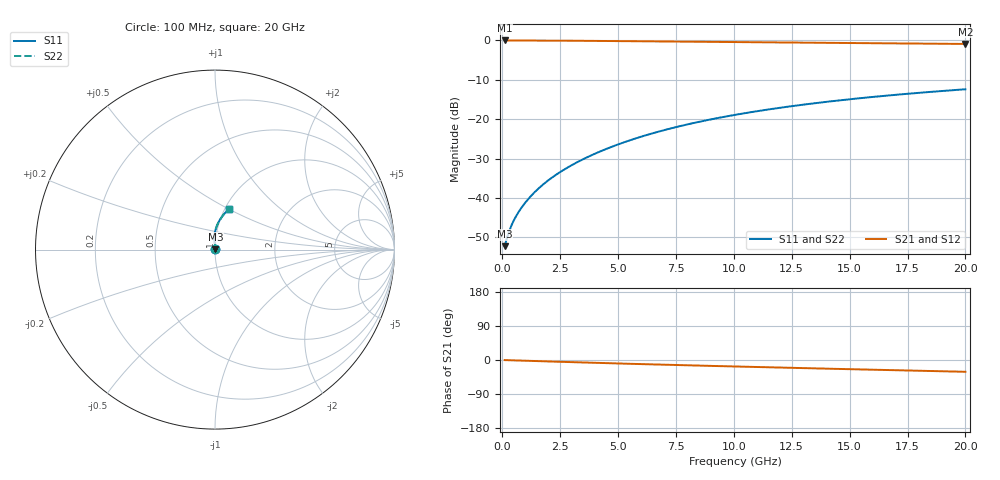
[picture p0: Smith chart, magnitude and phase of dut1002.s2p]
! Touchstone file exported from HFSS 2024.1.0
!  File:  C:/UserFiles/LocalFiles/RDL_TSV_Batchsim/temp_RDL_bottom_1002_1780049984.aedt
!  Generated:  06:22:03 PM May 29, 2026
!  Design:  RDL_bottom
!  Project:  temp_RDL_bottom_1002_1780049984
!  Setup:  Setup1
!  Solution:  Sweep
! Variables:
!  dtsv = 10.80580581um
!  hbump = 3um
!  htsv = 67.44um
!  ldown = 467.2um
!  lrdl = 100um
!  p = 40
!  p1 = 47.87um
!  rhole = 1um
!  t = 450um
!  tdown = 2.97um
!  trdl = 3.915915916um
!  wdown = 29.16um
!  wrdl = 20um
# GHz S MA R 50.000000
! Terminal data exported
! Port[1] = RDL1_T1
! Port[2] = RDL1_T2
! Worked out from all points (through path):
!   200 points, 100 MHz to 20 GHz, reference 50 ohm
!   highest |S21| = -0.02 dB at 100 MHz (marker M1); lowest = -0.9 dB at 20 GHz (marker M2)
!   group delay of S21, straight-line fit = 4.25 ps
!   lowest |S11| = -52.2 dB at 100 MHz (marker M3), VSWR 1.00, Z = 50.2 + j0.105 ohm
!   |S11| at or under -10 dB: start of sweep to end of sweep
!   |S22| runs from -52.2 to -12.4 dB; largest |S21 - S12| = 2.4e-15
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0.1  0.002451 25.1  0.9978 -0.2  0.9978 -0.2  0.002451 25.1
! Gamma 0 0 0 0
! Port Impedance 50 0 50 0
0.2  0.003093 40.4  0.9976 -0.4  0.9976 -0.4  0.003093 40.4
0.3  0.003811 49.1  0.9974 -0.6  0.9974 -0.6  0.003811 49.1
0.4  0.004522 54.8  0.9972 -0.8  0.9972 -0.8  0.004522 54.8
0.5  0.005221 59.2  0.997 -1.0  0.997 -1.0  0.005221 59.2
0.6  0.005918 62.8  0.9968 -1.2  0.9968 -1.2  0.005918 62.8
0.8  0.007336 68.5  0.9965 -1.6  0.9965 -1.6  0.007336 68.5
1.2  0.01032 76.3  0.9957 -2.3  0.9957 -2.3  0.01032 76.3
1.7  0.01434 82.3  0.9945 -3.3  0.9945 -3.3  0.01434 82.3
2.2  0.01865 86.2  0.993 -4.2  0.993 -4.2  0.01864 86.1
2.8  0.02419 89.3  0.9907 -5.3  0.9907 -5.3  0.02418 89.2
3.5  0.03118 91.6  0.9877 -6.6  0.9877 -6.6  0.03116 91.5
4.2  0.0387 92.9  0.9842 -7.8  0.9842 -7.8  0.03867 92.8
5  0.04787 93.5  0.9799 -9.2  0.9799 -9.2  0.04783 93.4
5.9  0.0588 93.4  0.9748 -10.7  0.9748 -10.7  0.05874 93.3
6.8  0.07023 92.8  0.9696 -12.1  0.9696 -12.1  0.07014 92.7
8.4  0.09133 90.8  0.9604 -14.6  0.9604 -14.6  0.0912 90.7
10.1  0.1142 88.0  0.9509 -17.2  0.9509 -17.2  0.114 87.9
11.7  0.1357 85.2  0.9423 -19.5  0.9423 -19.5  0.1355 85.1
13.4  0.1583 82.1  0.9335 -22.0  0.9335 -22.0  0.158 82.0
16.7  0.2004 76.2  0.9172 -26.6  0.9172 -26.6  0.2 76.1
20  0.2397 70.6  0.9014 -31.1  0.9014 -31.1  0.2393 70.5
